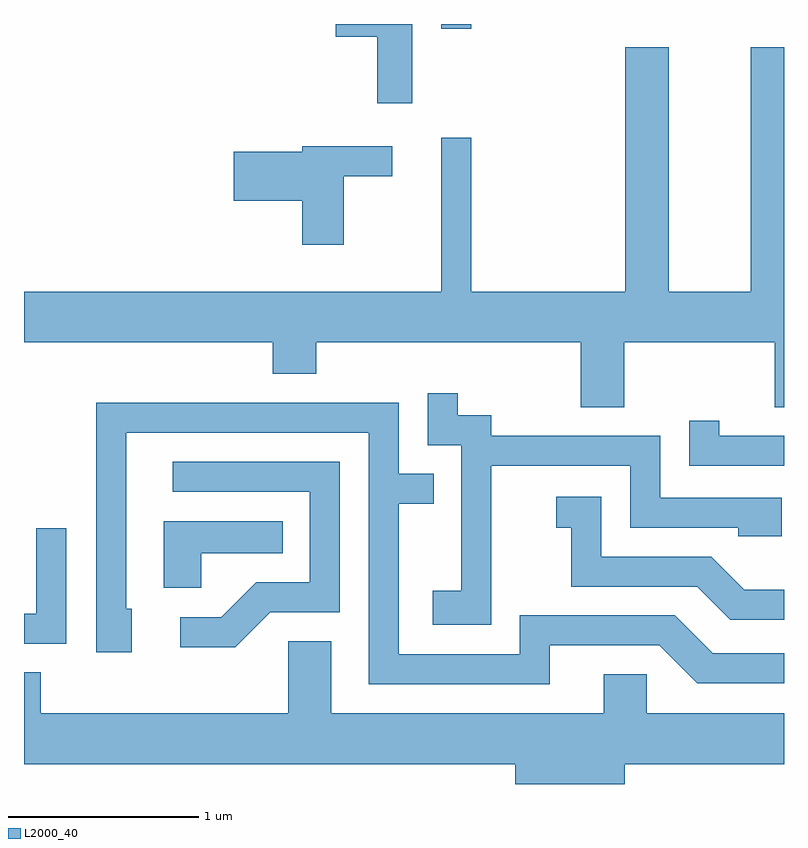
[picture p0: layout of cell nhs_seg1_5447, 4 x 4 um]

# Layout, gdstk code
import gdstk
lib = gdstk.Library(unit=1e-6, precision=1e-09)
def R(c, l, rs):  # rectangles x0, y0, x1, y1
    for r in rs: c.add(gdstk.rectangle(r[:2], r[2:], *l))
def P(c, l, *ps):  # polygons
    for p in ps: c.add(gdstk.Polygon(p, *l))
L2000_40 = (2000, 40)

nhs_seg1_5447 = lib.new_cell('nhs_seg1_5447')
R(nhs_seg1_5447, L2000_40, [(351.806,885.688,351.964,885.712)])
P(nhs_seg1_5447, L2000_40, [(351.654,885.712),(351.251,885.712),(351.251,885.646),(351.471,885.646),(351.471,885.296),(351.654,885.296)],
  [(352.769,884.036),(353.561,884.036),(353.561,883.696),(353.611,883.696),(353.611,885.589),(353.436,885.589),(353.436,884.304),(353.004,884.304),(353.004,885.589),(352.776,885.589),(352.776,884.304),(351.964,884.304),(351.964,885.113),(351.806,885.113),(351.806,884.304),(349.611,884.304),(349.611,884.036),(350.921,884.036),(350.921,883.871),(351.149,883.871),(351.149,884.036),(352.541,884.036),(352.541,883.696),(352.769,883.696)],
  [(351.294,884.911),(351.548,884.911),(351.548,885.069),(351.076,885.069),(351.076,885.039),(350.716,885.039),(350.716,884.781),(351.076,884.781),(351.076,884.551),(351.294,884.551)],
  [(352.069,883.386),(352.801,883.386),(352.801,883.061),(353.371,883.061),(353.371,883.016),(353.599,883.016),(353.599,883.219),(352.959,883.219),(352.959,883.544),(352.069,883.544),(352.069,883.654),(351.894,883.654),(351.894,883.768),(351.736,883.768),(351.736,883.496),(351.911,883.496),(351.911,882.729),(351.761,882.729),(351.761,882.551),(352.069,882.551)],
  [(352.379,882.441),(352.954,882.441),(353.154,882.241),(353.611,882.241),(353.611,882.399),(353.237,882.399),(353.037,882.599),(352.221,882.599),(352.221,882.394),(351.584,882.394),(351.584,883.186),(351.768,883.186),(351.768,883.344),(351.584,883.344),(351.584,883.719),(349.991,883.719),(349.991,882.406),(350.179,882.406),(350.179,882.634),(350.149,882.634),(350.149,883.561),(351.426,883.561),(351.426,882.236),(352.379,882.236)],
  [(353.611,883.544),(353.269,883.544),(353.269,883.623),(353.111,883.623),(353.111,883.386),(353.611,883.386)],
  [(350.907,882.616),(351.274,882.616),(351.274,883.409),(350.393,883.409),(350.393,883.251),(351.116,883.251),(351.116,882.774),(350.834,882.774),(350.649,882.589),(350.433,882.589),(350.433,882.431),(350.722,882.431)],
  [(353.611,882.734),(353.402,882.734),(353.227,882.909),(352.649,882.909),(352.649,883.224),(352.413,883.224),(352.413,883.061),(352.491,883.061),(352.491,882.751),(353.154,882.751),(353.329,882.576),(353.611,882.576)],
  [(350.544,882.926),(350.973,882.926),(350.973,883.094),(350.346,883.094),(350.346,882.746),(350.544,882.746)],
  [(349.834,883.058),(349.676,883.058),(349.676,882.609),(349.611,882.609),(349.611,882.451),(349.834,882.451)],
  [(352.661,882.289),(352.661,882.084),(351.229,882.084),(351.229,882.464),(351.001,882.464),(351.001,882.084),(349.699,882.084),(349.699,882.299),(349.611,882.299),(349.611,881.816),(352.196,881.816),(352.196,881.712),(352.774,881.712),(352.774,881.816),(353.611,881.816),(353.611,882.084),(352.889,882.084),(352.889,882.289)])

lib.write_gds('nhs_seg1_5447.gds')
